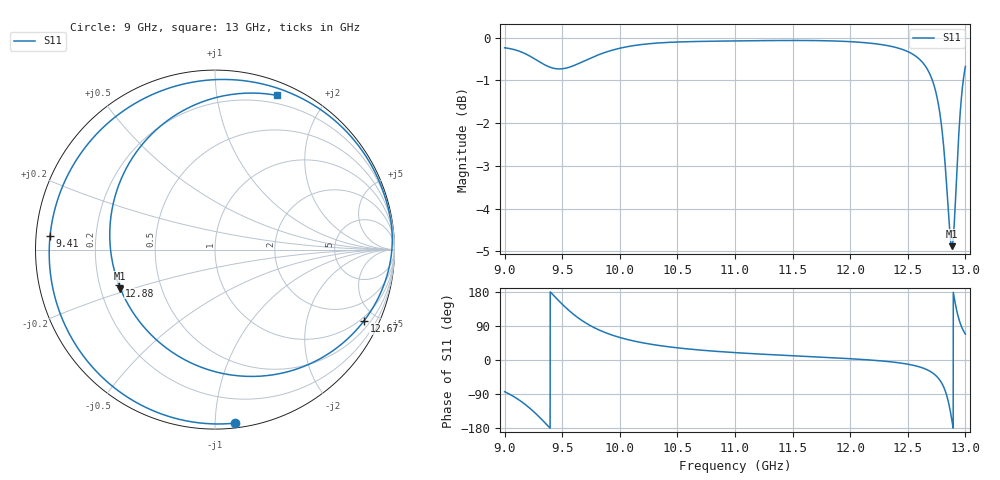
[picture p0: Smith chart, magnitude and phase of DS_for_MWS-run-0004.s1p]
! TOUCHSTONE file generated by CST DESIGN STUDIO
! Date and time: Tue Feb  4 17:43:47 2025
! Project name: C:\Work\MatlabApps\UnitCellOptimizationMatlab\CST\unitcell.cst
! Tree item: Tasks\Sweep1\SPara1\S-Parameters
! Header version: 2024
! Port assignment regex: !\s*Touchstone port\s*([0-9]+)\s*=\s*(CST MWS port|CST DES external port|CST DES block port)\s*(.+)\s* \(\"(.*)\"\)(\s*mode\s*([0-9]+))?.*
! Touchstone port assignment:
! Touchstone port 1 = CST DES external port 1 ("")
# GHz S MA R 50
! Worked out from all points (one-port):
!   4001 points, 9 GHz to 13 GHz, reference 50 ohm
!   lowest |S11| = -4.9 dB at 12.88 GHz (marker M1), VSWR 3.65, Z = 14.2 - j9.11 ohm
!   |S11| at or under -10 dB: nowhere
!   S11 on the Smith chart (normalised r, x): 9 GHz: 0.03, -1.12; 9.41 GHz: 0.04, +0.04; 12.67 GHz: 0.82, -4.27; 12.88 GHz: 0.28, -0.17; 13 GHz: 0.12, +1.47
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9  0.9732 -83.5
9.115  0.9657 -103.3
9.209  0.9533 -124.7
9.32  0.9341 -156.2
9.41  0.9222 175.2
9.5  0.9197 147.2
9.593  0.9268 121.8
9.693  0.9396 99.9
9.84  0.9579 76.5
10  0.9721 59.4
10.216  0.9828 44.4
10.5  0.9885 32.1
11  0.9914 19.5
11.5  0.9927 11.2
12  0.9895 3.4
12.5  0.9633 -11.0
12.666  0.9204 -25.5
12.756  0.8489 -44.9
12.79  0.7942 -58.7
12.82  0.7226 -77.5
12.852  0.6252 -110.0
12.882  0.5701 -157.6
12.883  0.5702 -159.5
12.897  0.5882 174.9
12.91  0.6299 152.4
12.941  0.7641 110.7
12.966  0.8524 88.3
13  0.9255 68.2
